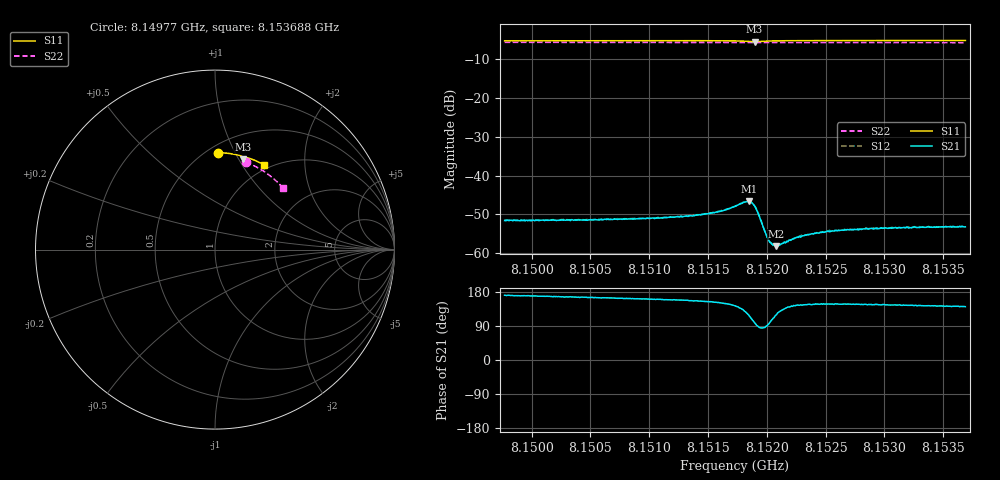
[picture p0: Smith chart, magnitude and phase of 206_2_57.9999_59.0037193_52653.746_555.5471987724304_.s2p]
#  HZ  S  RI  R  50.00
! Rohde & Schwarz Vector Network Analyzer
! Rohde-Schwarz,ZNB20-2Port,1311601062101988,3.16
! Created: UTC 3/21/2024, 12:59:27 AM
! freq[Hz]  re:S11  im:S11  re:S21  im:S21  re:S12  im:S12  re:S22  im:S22
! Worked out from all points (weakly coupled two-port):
!   401 points, 8.14977 GHz to 8.153688 GHz, reference 50 ohm
!   highest |S21| = -46.60 dB at 8.151847 GHz (marker M1); lowest = -58.1 dB at 8.152082 GHz (marker M2)
!   lowest |S11| = -5.6 dB at 8.151896 GHz (marker M3), VSWR 3.23, Z = 37.3 + j52 ohm
!   |S11| at or under -10 dB: nowhere
!   |S22| runs from -5.8 to -5.7 dB; largest |S21 - S12| = 0.00013
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8.1497701e9  0.0146 0.5397  -0.00261 0.000415  -0.00264 0.000488  0.1717 0.4866
8.1504264e9  0.0607 0.5375  -0.0026 0.000645  -0.00262 0.00071  0.2108 0.4701
8.1510827e9  0.1065 0.5313  -0.00267 0.000973  -0.00271 0.00105  0.2485 0.4504
8.1514451e9  0.1325 0.5255  -0.00285 0.00131  -0.00287 0.00138  0.2683 0.4383
8.1516215e9  0.1457 0.5212  -0.00305 0.00175  -0.00307 0.00181  0.278 0.4318
8.1517292e9  0.1544 0.5165  -0.00321 0.00242  -0.00321 0.00247  0.2838 0.428
8.1518076e9  0.1593 0.51  -0.00292 0.00348  -0.00286 0.00356  0.2877 0.425
8.1518468e9  0.1591 0.5055  -0.0022 0.00413  -0.00213 0.00415  0.2896 0.4233
8.1518664e9  0.1575 0.504  -0.00156 0.00424  -0.00153 0.00431  0.2904 0.4226
8.1518958e9  0.1548 0.5036  -0.000581 0.00402  -0.000556 0.00405  0.2917 0.4216
8.1519251e9  0.1528 0.5058  7.05e-05 0.0033  0.00012 0.00332  0.2932 0.4208
8.1519839e9  0.1552 0.5115  0.000133 0.00188  0.000171 0.00192  0.2963 0.4187
8.1520133e9  0.1578 0.5129  -0.000119 0.0015  -7.39e-05 0.00153  0.2978 0.4177
8.1520427e9  0.1608 0.5138  -0.000367 0.00126  -0.000322 0.00131  0.2995 0.4165
8.1520819e9  0.1646 0.5142  -0.000614 0.00109  -0.000624 0.00109  0.3015 0.4151
8.1522778e9  0.1807 0.5118  -0.00134 0.000956  -0.00136 0.000977  0.3116 0.4075
8.1523855e9  0.1886 0.5094  -0.00149 0.000988  -0.00149 0.001  0.317 0.403
8.1525129e9  0.1976 0.5065  -0.00162 0.00103  -0.00159 0.00108  0.3231 0.3978
8.1526696e9  0.2081 0.5026  -0.00169 0.00108  -0.00169 0.00109  0.3309 0.3912
8.1530419e9  0.2325 0.4927  -0.00173 0.0012  -0.00174 0.0012  0.3483 0.3751
8.1533945e9  0.2548 0.4822  -0.00172 0.00131  -0.00172 0.00135  0.3641 0.359
8.1536884e9  0.2729 0.4726  -0.0017 0.00138  -0.00169 0.00141  0.3765 0.3455
